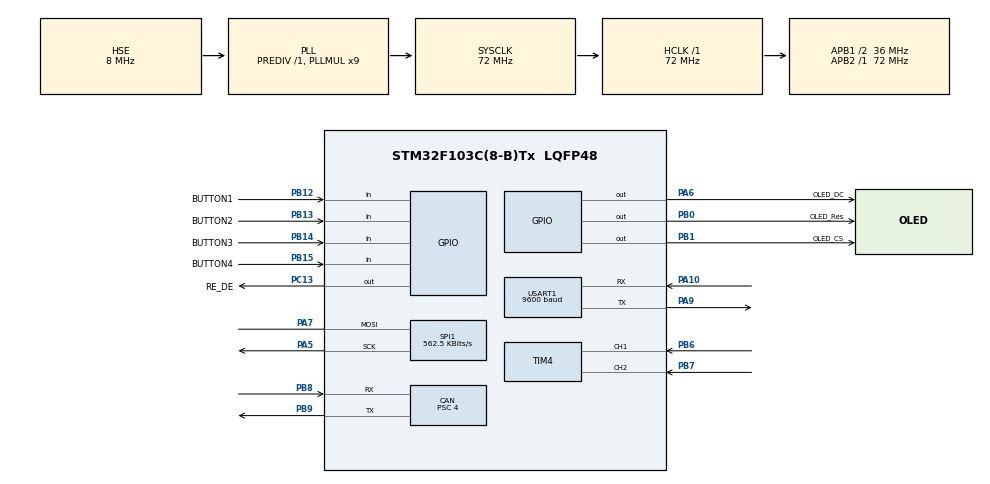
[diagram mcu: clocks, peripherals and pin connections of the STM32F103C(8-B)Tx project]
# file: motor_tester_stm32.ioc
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CAN.ABOM=ENABLE
CAN.BS1=CAN_BS1_15TQ
CAN.BS2=CAN_BS2_2TQ
CAN.CalculateBaudRate=500000
CAN.CalculateTimeBit=2000
CAN.CalculateTimeQuantum=111.11111111111111
CAN.Prescaler=4
CAN.TXFP=ENABLE
Dma.Request0=USART1_RX
Dma.USART1_RX.0.Direction=DMA_PERIPH_TO_MEMORY
Dma.USART1_RX.0.Instance=DMA1_Channel5
Dma.USART1_RX.0.MemDataAlignment=DMA_MDATAALIGN_BYTE
Dma.USART1_RX.0.MemInc=DMA_MINC_ENABLE
Dma.USART1_RX.0.Mode=DMA_NORMAL
Dma.USART1_RX.0.PeriphDataAlignment=DMA_PDATAALIGN_BYTE
Dma.USART1_RX.0.PeriphInc=DMA_PINC_DISABLE
Dma.USART1_RX.0.Priority=DMA_PRIORITY_LOW
Mcu.Family=STM32F1
Mcu.Name=STM32F103C(8-B)Tx
Mcu.Package=LQFP48
NVIC.CAN1_SCE_IRQn=true\:0\:0\:false\:false\:true\:true\:true\:true
NVIC.DMA1_Channel5_IRQn=true\:0\:0\:false\:false\:true\:false\:true\:true
NVIC.PriorityGroup=NVIC_PRIORITYGROUP_4
NVIC.USART1_IRQn=true\:0\:0\:false\:false\:true\:true\:true\:true
NVIC.USB_LP_CAN1_RX0_IRQn=true\:0\:0\:false\:false\:true\:true\:true\:true
PA10.Mode=Asynchronous
PA10.Signal=USART1_RX
PA13.Mode=Serial_Wire
PA13.Signal=SYS_JTMS-SWDIO
PA14.Mode=Serial_Wire
PA14.Signal=SYS_JTCK-SWCLK
PA5.Mode=Simplex_Bidirectional_Master
PA5.Signal=SPI1_SCK
PA6.GPIO_Label=OLED_DC
PA6.Signal=GPIO_Output
PA7.Mode=Simplex_Bidirectional_Master
PA7.Signal=SPI1_MOSI
PA9.Mode=Asynchronous
PA9.Signal=USART1_TX
PB0.GPIO_Label=OLED_Res
PB0.Signal=GPIO_Output
PB1.GPIO_Label=OLED_CS
PB1.Signal=GPIO_Output
PB12.GPIO_Label=BUTTON1
PB12.Signal=GPIO_Input
PB13.GPIO_Label=BUTTON2
PB13.Signal=GPIO_Input
PB14.GPIO_Label=BUTTON3
PB14.Signal=GPIO_Input
PB15.GPIO_Label=BUTTON4
PB15.Signal=GPIO_Input
PB6.Signal=S_TIM4_CH1
PB7.Signal=S_TIM4_CH2
PB8.Mode=CAN_Activate
PB8.Signal=CAN_RX
PB9.Mode=CAN_Activate
PB9.Signal=CAN_TX
PC13-TAMPER-RTC.GPIO_Label=RE_DE
PC13-TAMPER-RTC.Signal=GPIO_Output
PD0-OSC_IN.Mode=HSE-External-Oscillator
PD0-OSC_IN.Signal=RCC_OSC_IN
PD1-OSC_OUT.Mode=HSE-External-Oscillator
PD1-OSC_OUT.Signal=RCC_OSC_OUT
ProjectManager.HeapSize=0x200
ProjectManager.StackSize=0x400
ProjectManager.TargetToolchain=STM32CubeIDE
RCC.AHBFreq_Value=72000000
RCC.APB1CLKDivider=RCC_HCLK_DIV2
RCC.APB1Freq_Value=36000000
RCC.APB1TimFreq_Value=72000000
RCC.APB2Freq_Value=72000000
RCC.APB2TimFreq_Value=72000000
RCC.HCLKFreq_Value=72000000
RCC.PLLMUL=RCC_PLL_MUL9
RCC.PLLSourceVirtual=RCC_PLLSOURCE_HSE
RCC.SYSCLKFreq_VALUE=72000000
RCC.SYSCLKSource=RCC_SYSCLKSOURCE_PLLCLK
RCC.USBFreq_Value=72000000
SH.S_TIM4_CH1.0=TIM4_CH1,Encoder_Interface
SH.S_TIM4_CH2.0=TIM4_CH2,Encoder_Interface
SPI1.BaudRatePrescaler=SPI_BAUDRATEPRESCALER_128
SPI1.CalculateBaudRate=562.5 KBits/s
SPI1.Direction=SPI_DIRECTION_1LINE
SPI1.Mode=SPI_MODE_MASTER
SPI1.VirtualType=VM_MASTER
USART1.BaudRate=9600
USART1.VirtualMode=VM_ASYNC
board=custom

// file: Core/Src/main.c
/* USER CODE BEGIN Header */
/**
  ******************************************************************************
  * @file           : main.c
  * @brief          : Main program body
  ******************************************************************************
  * @attention
  *
  * Copyright (c) 2023 STMicroelectronics.
  * All rights reserved.
  *
  * This software is licensed under terms that can be found in the LICENSE file
  * in the root directory of this software component.
  * If no LICENSE file comes with this software, it is provided AS-IS.
  *
  ******************************************************************************
  */
/* USER CODE END Header */
#include "main.h"

/* USER CODE BEGIN Includes */
#include "ssd1306/ssd1306.h"
#include "ssd1306/ssd1306_tests.h"
#include "printf/printf.h"
//#include <stdio.h>
/* USER CODE END Includes */

CAN_HandleTypeDef hcan;

SPI_HandleTypeDef hspi1;

TIM_HandleTypeDef htim4;

UART_HandleTypeDef huart1;
DMA_HandleTypeDef hdma_usart1_rx;

/* USER CODE BEGIN PV */
int32_t enc_prev = 0;
int32_t enc_idle_tick = 0;
/* USER CODE END PV */

void SystemClock_Config(void);
static void MX_GPIO_Init(void);
static void MX_DMA_Init(void);
static void MX_USART1_UART_Init(void);
static void MX_TIM4_Init(void);
static void MX_SPI1_Init(void);
static void MX_CAN_Init(void);
/* USER CODE BEGIN PFP */

#define DRIVER_MOVE_ID 0x01
#define DRIVER_LIFT_ID 0x02

uint8_t bms_uart_buff[100];
uint8_t new_bms_data = 0;
uint16_t data_size = 0;
uint8_t smart_buff[100];
int size_recv_buff = 0;

uint8_t bms_jbd_request_msg0[] = {0xDD, 0xA5, 0x03, 0x00, 0xFF, 0xFD, 0x77};
uint8_t bms_jbd_request_msg1[] = {0xDD, 0xA5, 0x04, 0x00, 0xFF, 0xFC, 0x77};
uint8_t bms_smart_request_msg[]  = {0xA5, 0x40, 0x90, 0x08, 0x00, 0x00, 0x00, 0x00, 0x00, 0x00, 0x00, 0x00, 0x7D};
uint32_t bms_req_time = 0;
int32_t battery_capacity = 0;
uint8_t bms_err = 0;
int32_t check_bms_i = 0;
int32_t screen_bms = 0;

int32_t start_stop = 0;
int32_t motor_speed = 0;

CAN_TxHeaderTypeDef TxHeader;
CAN_RxHeaderTypeDef RxHeader;
uint8_t TxData[8] = {0,};
uint8_t RxData[8] = {0,};
uint32_t TxMailbox = 0;
volatile uint8_t NewCanMsg = 0;

enum CanGetMsgStatus {
	CAN_GET_MSG_WAIT					=  0,
	CAN_GET_MSG_OK                      =  1,
	CAN_GET_MSG_ERROR                   =  2,
};

typedef struct {
	uint8_t start_msg0;
	uint8_t start_msg1;
	uint8_t shuttle_id;
	uint8_t msg_id;

	uint16_t voltage;
	int16_t current;

	uint32_t remaining_capacity;
	uint16_t nominal_capacity;
	uint16_t n0;

	uint16_t cycles;
	uint16_t date;
	uint16_t balance_low;
	uint16_t balance_high;

	uint16_t protection;
	uint16_t capacity_percent;

	uint8_t version;
	uint8_t MOS_state;
	uint8_t num_of_battery;
	uint8_t num_of_NTC;

	uint16_t temp1;
	uint16_t temp2;

	uint8_t battery_pack;
	uint8_t p0;
	uint8_t p1;
	uint8_t p2;

	uint16_t max_volt;
	uint16_t min_volt;

	uint16_t cell_0;
	uint16_t cell_1;
	uint16_t cell_2;
	uint16_t cell_3;
	uint16_t cell_4;
	uint16_t cell_5;
	uint16_t cell_6;
	uint16_t cell_7;
	uint16_t cell_8;
	uint16_t cell_9;
	uint16_t cell_10;
	uint16_t cell_11;
	uint16_t cell_12;
	uint16_t cell_13;
	uint16_t cell_14;
	uint16_t cell_15;
	uint8_t bms_type; //0-jbd, 1-smart
	uint8_t reservz1;
	uint8_t reservz2;
	uint8_t CS;
} BatteryMsgTypeDef;

typedef struct {
	GPIO_TypeDef *button_port;
	uint16_t button_pin;
	uint8_t short_state;
	uint8_t long_state;
	uint32_t time_key;
} StButtonsTypeDef;

enum BMS_TYPE {
	BMS_NONE = 0,
	BMS_SMART,
	BMS_JBD,
	BMS_MAX,
};

enum MENU {
	MENU_ENC = 0,
	MENU_BMS,
	MENU_DRIVER,
	MENU_MAX,
};

typedef struct {
	int32_t encoder;
	float voltage;
} CanDataRecvTypeDef;

typedef struct {
	uint32_t canId;
	uint32_t canExtId;
	uint32_t canRTR;
	uint8_t canData[8];
} CanDataSendTypeDef;

//CanDataRecvTypeDef canDataRecv;
//CanDataSendTypeDef prevCanData;

int curr_menu = 0;

BatteryMsgTypeDef batteryMsg;
StButtonsTypeDef stButtons[4];

/* USER CODE END PFP */

/* USER CODE BEGIN 0 */

void HAL_UART_ErrorCallback(UART_HandleTypeDef *huart)
{
	uint32_t er = HAL_UART_GetError(huart);
	switch (er) {
		case HAL_UART_ERROR_PE: // ошибка четности
			__HAL_UART_CLEAR_PEFLAG(huart);
			huart->ErrorCode = HAL_UART_ERROR_NONE;
			break;
		case HAL_UART_ERROR_NE:  // шум на линии
			__HAL_UART_CLEAR_NEFLAG(huart);
			huart->ErrorCode = HAL_UART_ERROR_NONE;
			break;
		case HAL_UART_ERROR_FE:  // ошибка фрейма
			__HAL_UART_CLEAR_FEFLAG(huart);
			huart->ErrorCode = HAL_UART_ERROR_NONE;
			break;
		case HAL_UART_ERROR_ORE:  // overrun error
			__HAL_UART_CLEAR_OREFLAG(huart);
			huart->ErrorCode = HAL_UART_ERROR_NONE;
			break;
		case HAL_UART_ERROR_DMA:  // ошибка DMA
			huart->ErrorCode = HAL_UART_ERROR_NONE;
			break;
		default:
			break;
		}
	if (huart->Instance == USART1) {
		new_bms_data = 1;
		HAL_UARTEx_ReceiveToIdle_DMA(&huart1, bms_uart_buff, sizeof(bms_uart_buff));
		__HAL_DMA_DISABLE_IT(&hdma_usart1_rx, DMA_IT_HT);
	}
}

void HAL_UARTEx_RxEventCallback(UART_HandleTypeDef *huart, uint16_t Size) {
	if (huart->Instance == USART1) {
		new_bms_data = 1;
		data_size = Size;
		HAL_UARTEx_ReceiveToIdle_DMA(&huart1, bms_uart_buff, sizeof(bms_uart_buff));
		__HAL_DMA_DISABLE_IT(&hdma_usart1_rx, DMA_IT_HT);
	}
}

void HAL_CAN_RxFifo0MsgPendingCallback(CAN_HandleTypeDef *hcan)
{
	if (HAL_CAN_GetRxMessage(hcan, CAN_RX_FIFO0, &RxHeader, RxData) != HAL_OK)
	{
		Error_Handler();
	}
	NewCanMsg = CAN_GET_MSG_OK;
}
void HAL_CAN_ErrorCallback(CAN_HandleTypeDef *hcan)
{
    NewCanMsg = CAN_GET_MSG_ERROR;
}

uint8_t CanMsgRead(CanDataRecvTypeDef *canDataRecv) {

	return 1;
}

uint8_t CanMsgSend(CanDataSendTypeDef *canDataSend) {

	TxHeader.StdId = canDataSend->canId;
	TxHeader.ExtId = canDataSend->canExtId;
	TxHeader.RTR = canDataSend->canRTR;
	TxHeader.IDE = CAN_ID_EXT;
	TxHeader.DLC = 8;
	TxHeader.TransmitGlobalTime = 0;
	//globData.can_mutex = 0;
	for (int i = 0; i < sizeof(TxData); i++) {
		TxData[i] = canDataSend->canData[i];
	}
	while (HAL_CAN_GetTxMailboxesFreeLevel(&hcan) == 0);
	if (HAL_CAN_AddTxMessage(&hcan, &TxHeader, TxData, &TxMailbox) != HAL_OK) {
		//HAL_UART_Transmit(&huart, (uint8_t*) "no_trans\r\n", 10, 100);
		return 0;
	}
	return 1;
}

void Moving() {

	CanDataSendTypeDef canDataSend;

	static int move_axis_en = 0;
	static int lift_axis_en = 0;
	if (start_stop) {
			canDataSend.canExtId = DRIVER_MOVE_ID + 0x06000000;
			canDataSend.canRTR = CAN_RTR_DATA;
			if (!move_axis_en) {
				move_axis_en = 1;
				canDataSend.canData[0] = 0x23;
				canDataSend.canData[1] = 0x0D;
				canDataSend.canData[2] = 0x20;
				canDataSend.canData[3] = 0x01;
				canDataSend.canData[4] = 0x00;
				canDataSend.canData[5] = 0x00;
				canDataSend.canData[6] = 0x00;
				canDataSend.canData[7] = 0x00;
				CanMsgSend(&canDataSend);
				HAL_Delay(10);
			}
			if (!lift_axis_en) {
				lift_axis_en = 1;
				canDataSend.canData[0] = 0x23;
				canDataSend.canData[1] = 0x0D;
				canDataSend.canData[2] = 0x20;
				canDataSend.canData[3] = 0x02;
				canDataSend.canData[4] = 0x00;
				canDataSend.canData[5] = 0x00;
				canDataSend.canData[6] = 0x00;
				canDataSend.canData[7] = 0x00;
				CanMsgSend(&canDataSend);
				HAL_Delay(10);
			}
			static int32_t ch_velocity = 0;
			//if (motor1_speed) { //(l_current_move_comm == MOVE_FORW) {
			//HAL_UART_Transmit(&DEBUG_UART, (uint8_t*)"can_send\r\n", 10, 100);
			canDataSend.canData[0] = 0x23;
			canDataSend.canData[1] = 0x00;
			canDataSend.canData[2] = 0x20;
			canDataSend.canData[3] = 0x01;
			ch_velocity = motor_speed;
			canDataSend.canData[4] = ch_velocity >> 24;
			canDataSend.canData[5] = ch_velocity >> 16;
			canDataSend.canData[6] = ch_velocity >> 8;
			canDataSend.canData[7] = ch_velocity;
			CanMsgSend(&canDataSend);
			HAL_Delay(2);
			//}
			//else if (motor2_speed) {
			canDataSend.canData[0] = 0x23;
			canDataSend.canData[1] = 0x00;
			canDataSend.canData[2] = 0x20;
			canDataSend.canData[3] = 0x02;
			ch_velocity = motor_speed;
			canDataSend.canData[4] = ch_velocity >> 24;
			canDataSend.canData[5] = ch_velocity >> 16;
			canDataSend.canData[6] = ch_velocity >> 8;
			canDataSend.canData[7] = ch_velocity;
			CanMsgSend(&canDataSend);
			//}
		}
		else
		{
			canDataSend.canData[0] = 0x23;
			canDataSend.canData[1] = 0x00;
			canDataSend.canData[2] = 0x20;
			canDataSend.canData[3] = 0x01;
			canDataSend.canData[4] = 0x00;
			canDataSend.canData[5] = 0x00;
			canDataSend.canData[6] = 0x00;
			canDataSend.canData[7] = 0x00;
			CanMsgSend(&canDataSend);
			HAL_Delay(10);
			canDataSend.canData[0] = 0x23;
			canDataSend.canData[1] = 0x00;
			canDataSend.canData[2] = 0x20;
			canDataSend.canData[3] = 0x02;
			canDataSend.canData[4] = 0x00;
			canDataSend.canData[5] = 0x00;
			canDataSend.canData[6] = 0x00;
			canDataSend.canData[7] = 0x00;
			CanMsgSend(&canDataSend);
			move_axis_en = 0;
			lift_axis_en = 0;
		}
		HAL_Delay(20);
}

void read_bms_uart() {
	if (new_bms_data)
	{
		new_bms_data = 0;
		rcGetBattery();
		check_bms_i = 3;
		bms_req_time = HAL_GetTick();
	}
	if (check_bms_i == 0)
	{
		RE_DE_ON;
		HAL_UART_Transmit(&huart1, (uint8_t*)bms_jbd_request_msg0, sizeof(bms_jbd_request_msg0), 100);
		RE_DE_OFF;
		check_bms_i++;
		bms_req_time = HAL_GetTick();
	}
	else if (check_bms_i == 1 && batteryMsg.bms_type == BMS_NONE)
	{
		if (HAL_GetTick() - bms_req_time > 500) {
			bms_smart_request_msg[2] = 0x90;
			bms_smart_request_msg[4] = 0x00;
			bms_smart_request_msg[12] = 0x7D;
			RE_DE_ON;
			HAL_UART_Transmit(&huart1, (uint8_t*)bms_smart_request_msg, sizeof(bms_smart_request_msg), 100);
			RE_DE_OFF;
			check_bms_i++;
			bms_req_time = HAL_GetTick();
		}
	}
	else if (check_bms_i == 2 && batteryMsg.bms_type == BMS_NONE)
	{
		if (HAL_GetTick() - bms_req_time > 1000) {
			bms_req_time = HAL_GetTick();
			check_bms_i = 3;
		}
	}
}

void rcGetBattery() {
	if (batteryMsg.bms_type == BMS_NONE)
	{
		if (bms_uart_buff[0] == 0xDD) batteryMsg.bms_type = BMS_JBD;
		else if (bms_uart_buff[0] == 0xA5) batteryMsg.bms_type = BMS_SMART;
	}
	if (batteryMsg.bms_type == BMS_SMART)
	{
		uint8_t battery_comm = bms_uart_buff[2];
		if (battery_comm == 0x90)
		{
			batteryMsg.voltage = (bms_uart_buff[4] << 8) + bms_uart_buff[5];
			batteryMsg.current = (bms_uart_buff[8] << 8) + bms_uart_buff[9];
			batteryMsg.capacity_percent = (bms_uart_buff[10] << 8) + bms_uart_buff[11];
			battery_capacity = batteryMsg.capacity_percent/10;
			bms_smart_request_msg[2] = 0x95;
			bms_smart_request_msg[12] = 0x82;
			size_recv_buff = 0;
			HAL_Delay(50);
			RE_DE_ON;
			HAL_UART_Transmit(&huart1, (uint8_t*)bms_smart_request_msg, sizeof(bms_smart_request_msg), 100);
			RE_DE_OFF;
		}
		else if (battery_comm == 0x91)
		{
			batteryMsg.max_volt = (bms_uart_buff[4] << 8) + bms_uart_buff[5];
			batteryMsg.min_volt = (bms_uart_buff[7] << 8) + bms_uart_buff[8];
		}
		else if (battery_comm == 0x92)
		{

		}
		else if (battery_comm == 0x93)
		{
			batteryMsg.remaining_capacity = (bms_uart_buff[8] << 24) +(bms_uart_buff[9] << 16) +(bms_uart_buff[10] << 8) + bms_uart_buff[11];
		}
		else if (battery_comm == 0x94)
		{
			batteryMsg.num_of_battery = bms_uart_buff[4];
			batteryMsg.num_of_NTC = bms_uart_buff[5];
		}
		else// if (battery_comm == 0x95)
		{
			int rc = 0;
			for (int i=size_recv_buff;i<(data_size+size_recv_buff);i++)
			{
				smart_buff[i] = bms_uart_buff[rc];
				rc++;
			}
			size_recv_buff += data_size;
			if (size_recv_buff == 78)
			{
				batteryMsg.cell_0 = (bms_uart_buff[5] << 8) + bms_uart_buff[6];
				batteryMsg.cell_1 = (smart_buff[7] << 8) + smart_buff[8];
				batteryMsg.cell_2 = (smart_buff[9] << 8) + smart_buff[10];
				batteryMsg.cell_3 = (smart_buff[5+13] << 8) + smart_buff[(6+13)];
				batteryMsg.cell_4 = (smart_buff[(7+13)] << 8) + smart_buff[(8+13)];
				batteryMsg.cell_5 = (smart_buff[9+13] << 8) + smart_buff[10+13];
				batteryMsg.cell_6 = (smart_buff[5+13*2] << 8) + smart_buff[6+13*2];
				batteryMsg.cell_7 = (smart_buff[7+13*2] << 8) + smart_buff[8+13*2];
				batteryMsg.cell_8 = (smart_buff[9+13*2] << 8) + smart_buff[10+13*2];
				batteryMsg.cell_9 = (smart_buff[5+13*3] << 8) + smart_buff[6+13*3];
				batteryMsg.cell_10 = (smart_buff[7+13*3] << 8) + smart_buff[8+13*3];
				batteryMsg.cell_11 = (smart_buff[9+13*3] << 8) + smart_buff[10+13*3];
				batteryMsg.cell_12 = (smart_buff[5+13*4] << 8) + smart_buff[6+13*4];
				batteryMsg.cell_13 = (smart_buff[7+13*4] << 8) + smart_buff[8+13*4];
				batteryMsg.cell_14 = (smart_buff[9+13*4] << 8) + smart_buff[10+13*4];
				batteryMsg.cell_15 = (smart_buff[5+13*5] << 8) + smart_buff[6+13*5];
			}
			/*
			if (bms_uart_buff[4] == 0x01)
			{
				batteryMsg.cell_0 = (bms_uart_buff[5] << 8) + bms_uart_buff[6];
				batteryMsg.cell_1 = (bms_uart_buff[7] << 8) + bms_uart_buff[8];
				batteryMsg.cell_2 = (bms_uart_buff[9] << 8) + bms_uart_buff[10];
			}
			else if (bms_uart_buff[4] == 0x02)
			{
				batteryMsg.cell_3 = (bms_uart_buff[5] << 8) + bms_uart_buff[6];
				batteryMsg.cell_4 = (bms_uart_buff[7] << 8) + bms_uart_buff[8];
				batteryMsg.cell_5 = (bms_uart_buff[9] << 8) + bms_uart_buff[10];
			}
			else if (bms_uart_buff[4] == 0x03)
			{
				batteryMsg.cell_6 = (bms_uart_buff[5] << 8) + bms_uart_buff[6];
				batteryMsg.cell_7 = (bms_uart_buff[7] << 8) + bms_uart_buff[8];
				batteryMsg.cell_8 = (bms_uart_buff[9] << 8) + bms_uart_buff[10];
			}
			else if (bms_uart_buff[4] == 0x04)
			{
				batteryMsg.cell_9 = (bms_uart_buff[5] << 8) + bms_uart_buff[6];
				batteryMsg.cell_10 = (bms_uart_buff[7] << 8) + bms_uart_buff[8];
				batteryMsg.cell_11 = (bms_uart_buff[9] << 8) + bms_uart_buff[10];
			}
			else if (bms_uart_buff[4] == 0x05)
			{
				batteryMsg.cell_12 = (bms_uart_buff[5] << 8) + bms_uart_buff[6];
				batteryMsg.cell_13 = (bms_uart_buff[7] << 8) + bms_uart_buff[8];
				batteryMsg.cell_14 = (bms_uart_buff[9] << 8) + bms_uart_buff[10];
			}
			else if (bms_uart_buff[4] == 0x06)
			{
				batteryMsg.cell_15 = (bms_uart_buff[5] << 8) + bms_uart_buff[6];
				//bms_smart_request_msg[2]++;
				//bms_smart_request_msg[12]++;
			}
			uint16_t *p_cell = &batteryMsg.cell_0;
			uint16_t cell_volt;
			int err = 0;
			for (int i=0;i<16;i++)
			{
				cell_volt = *p_cell;
				if (cell_volt == 0)
				{
					err = 1;
				}
				p_cell++;
			}
			if (err)
			{
				HAL_Delay(10);
				RE_DE_ON;
				HAL_UART_Transmit(&huart1, (uint8_t*)bms_smart_request_msg, sizeof(bms_smart_request_msg), 100);
				RE_DE_OFF;
			}*/
		}
		/*else if (battery_comm == 0x96)
		{
			batteryMsg.temp1 = bms_uart_buff[5]; //-40 to convert
			batteryMsg.temp2 = bms_uart_buff[6];
		}*/
		/*if (bms_smart_request_msg[2] > 0x96)
		{
			//bms_smart_request_msg[2] = 0x90;
			//bms_smart_request_msg[12] = 0x7D;
		}
		else
		{
			RE_DE_ON;
			HAL_UART_Transmit(&huart1, (uint8_t*)bms_smart_request_msg, sizeof(bms_smart_request_msg), 100);
			RE_DE_OFF;
		}
		if (battery_comm != 0x95)
		{
			bms_smart_request_msg[2]++;
			bms_smart_request_msg[12]++;
		}*/
	}
	else if (batteryMsg.bms_type == BMS_JBD)
	{
		uint8_t battery_comm = bms_uart_buff[1];
		if (battery_comm == 0x03)
		{
			batteryMsg.voltage = (bms_uart_buff[4] << 8) + bms_uart_buff[5];
			//batteryMsg.current = 65536 - ((bms_uart_buff[6] << 8) + bms_uart_buff[7]);
			//if (bms_uart_buff[6] & (1 << 8)) batteryMsg.current = -batteryMsg.current;
			batteryMsg.current = 0;//(bms_uart_buff[6] << 8) + bms_uart_buff[7];
			batteryMsg.remaining_capacity = (uint32_t)((bms_uart_buff[8] << 8) + bms_uart_buff[9]);
			batteryMsg.nominal_capacity = (bms_uart_buff[10] << 8) + bms_uart_buff[11];
			batteryMsg.cycles = (bms_uart_buff[12] << 8) + bms_uart_buff[13];
			batteryMsg.date = (bms_uart_buff[14] << 8) + bms_uart_buff[15];
			batteryMsg.balance_low = (bms_uart_buff[16] << 8) + bms_uart_buff[17];
			batteryMsg.balance_high = (bms_uart_buff[18] << 8) + bms_uart_buff[19];
			batteryMsg.protection = (bms_uart_buff[20] << 8) + bms_uart_buff[21];
			batteryMsg.version = bms_uart_buff[22];
			batteryMsg.capacity_percent = (uint16_t)bms_uart_buff[23];
			batteryMsg.MOS_state = bms_uart_buff[24];
			batteryMsg.num_of_battery = bms_uart_buff[25];
			batteryMsg.num_of_NTC = bms_uart_buff[26];
			batteryMsg.temp1 = ((bms_uart_buff[27] << 8) + bms_uart_buff[28]);
			batteryMsg.temp2 = ((bms_uart_buff[29] << 8) + bms_uart_buff[30]);
			battery_capacity = batteryMsg.capacity_percent;
			RE_DE_ON;
			HAL_UART_Transmit(&huart1, (uint8_t*)bms_jbd_request_msg1, sizeof(bms_jbd_request_msg1), 100);
			RE_DE_OFF;
		}
		else if (battery_comm == 0x04)
		{
			batteryMsg.battery_pack = bms_uart_buff[3];
			batteryMsg.cell_0 = (bms_uart_buff[4] << 8) + bms_uart_buff[5];
			batteryMsg.cell_1 = (bms_uart_buff[6] << 8) + bms_uart_buff[7];
			batteryMsg.cell_2 = (bms_uart_buff[8] << 8) + bms_uart_buff[9];
			batteryMsg.cell_3 = (bms_uart_buff[10] << 8) + bms_uart_buff[11];
			batteryMsg.cell_4 = (bms_uart_buff[12] << 8) + bms_uart_buff[13];
			batteryMsg.cell_5 = (bms_uart_buff[14] << 8) + bms_uart_buff[15];
			batteryMsg.cell_6 = (bms_uart_buff[16] << 8) + bms_uart_buff[17];
			batteryMsg.cell_7 = (bms_uart_buff[18] << 8) + bms_uart_buff[19];
			batteryMsg.cell_8 = (bms_uart_buff[20] << 8) + bms_uart_buff[21];
			batteryMsg.cell_9 = (bms_uart_buff[22] << 8) + bms_uart_buff[23];
			batteryMsg.cell_10 = (bms_uart_buff[24] << 8) + bms_uart_buff[25];
			batteryMsg.cell_11 = (bms_uart_buff[26] << 8) + bms_uart_buff[27];
			batteryMsg.cell_12 = (bms_uart_buff[28] << 8) + bms_uart_buff[29];
			batteryMsg.cell_13 = (bms_uart_buff[30] << 8) + bms_uart_buff[31];
			batteryMsg.cell_14 = (bms_uart_buff[32] << 8) + bms_uart_buff[33];
			batteryMsg.cell_15 = (bms_uart_buff[34] << 8) + bms_uart_buff[35];
		}
	}
	/*for (int i = 0; i < sizeof bms_uart_buff; i++)
	{
		bms_uart_buff[0] = 0;
	}*/
}

int32_t unwrap_encoder(uint16_t in, int32_t *prev)
{
    int32_t c32 = (int32_t)in - ENC_HALF_PERIOD;
    int32_t dif = (c32-*prev);

    int32_t mod_dif = ((dif + ENC_HALF_PERIOD) % ENC_ONE_PERIOD) - ENC_HALF_PERIOD;
    if(dif < -ENC_HALF_PERIOD) {
        mod_dif += ENC_ONE_PERIOD;
    }
    int32_t unwrapped = *prev + mod_dif;
    *prev = unwrapped;

    return unwrapped + ENC_HALF_PERIOD;
}

void getEncoder()
{
	int currCounter = __HAL_TIM_GET_COUNTER(&htim4);
	enc_idle_tick = unwrap_encoder(currCounter, &enc_prev);
}

void buttons_Init()
{
	stButtons[0].button_port = BUTTON1_GPIO_Port;
	stButtons[0].button_pin = BUTTON1_Pin;
	stButtons[1].button_port = BUTTON2_GPIO_Port;
	stButtons[1].button_pin = BUTTON2_Pin;
	stButtons[2].button_port = BUTTON3_GPIO_Port;
	stButtons[2].button_pin = BUTTON3_Pin;
	stButtons[3].button_port = BUTTON4_GPIO_Port;
	stButtons[3].button_pin = BUTTON4_Pin;
}

uint8_t short_state = 0;
uint8_t long_state = 0;
uint32_t time_key1 = 0;

void getButton()
{
	for (int i=0; i<4; i++)
	{
		uint32_t ms = HAL_GetTick();
		uint8_t key_state = HAL_GPIO_ReadPin(stButtons[i].button_port, stButtons[i].button_pin);
		if(key_state == 0 && !stButtons[i].short_state && (ms - stButtons[i].time_key) > 50)
		{
			stButtons[i].short_state = 1;
			stButtons[i].long_state = 0;
			stButtons[i].time_key = ms;
		}
		else if(key_state == 0 && !stButtons[i].long_state && (ms - stButtons[i].time_key) > 1000)
		{
			stButtons[i].long_state = 1;
			//long press
			if (i==0)
			{
				curr_menu++;
				if (curr_menu>=MENU_MAX)
				{
					curr_menu = 0;
				}
				if (start_stop)
				{
					start_stop = 0;
				}
				check_bms_i = 0;
				batteryMsg.bms_type = BMS_NONE;
			}
		}
		else if(key_state == 1 && stButtons[i].short_state && (ms - stButtons[i].time_key) > 50)
		{
			stButtons[i].short_state = 0;
			stButtons[i].time_key = ms;

		  if(!stButtons[i].long_state)
		  {
			//short press
			  if (curr_menu == MENU_BMS)
			  {
				  if (i == 0)
				  {
					  check_bms_i = 0;
					  batteryMsg.bms_type = BMS_NONE;
					  screen_bms = 0;
					  uint16_t* p_cell = &batteryMsg.cell_0;
					  for (int i=0; i<16; i++)
					  {
						  *p_cell = 0;
						  p_cell++;
					  }
				  }
				  else if (i == 1)
				  {
					  screen_bms--;
					  if (screen_bms < 0)
					  {
					  	  screen_bms = 3;
					  }

				  }
				  else if (i == 2)
				  {
					  screen_bms++;
					  if (screen_bms > 3)
					  {
						  screen_bms = 0;
					  }
				  }
			  }
			  else if (curr_menu == MENU_DRIVER)
			  {
				  if (i == 0)
				  {
					  start_stop = !start_stop;
					  if (!start_stop)
					  {
						  motor_speed = 0;
					  }
				  }
				  else if (i == 1 && start_stop)
				  {
					  motor_speed += 1000;
					  if (motor_speed>10000) motor_speed = 10000;
				  }
				  else if (i == 2 && start_stop)
				  {
					  motor_speed -= 1000;
				  	  if (motor_speed<-10000) motor_speed = -10000;
				  }
			  }
		  }
		}
	}
}

void menu_update()
{
	SSD1306_COLOR color1 = White;
	SSD1306_COLOR color2 = White;
	SSD1306_COLOR color3 = White;
	if (curr_menu == MENU_ENC)
	{
		char str [12];
		snprintf(str, sizeof str, "%d", (int)enc_idle_tick);
		ssd1306_Fill(Black);
		color1 = Black;
		ssd1306_SetCursor(2, 18);
		ssd1306_WriteString(str, Font_16x26, White);
		if (enc_idle_tick == 0)
		{
			ssd1306_SetCursor(2, 42);
			ssd1306_WriteString("Long press OK", Font_7x10, White);
			ssd1306_SetCursor(2, 53);
			ssd1306_WriteString("to select", Font_7x10, White);
		}
		//////debug////////////
		/*if (new_bms_data)
		{
			new_bms_data = 0;
			static int x = 0;
			x++;
			char xx [8];
			snprintf(xx, sizeof xx, "%d", (int)x);
			ssd1306_SetCursor(2, 18);
			ssd1306_WriteString(xx, Font_16x26, Black);
		}
		*/
	}
	else if (curr_menu == MENU_BMS) {
		ssd1306_Fill(Black);
		color2 = Black;
		if (batteryMsg.bms_type != BMS_NONE) {
			char volt[15];
			int x_coord = 2;
			int y_coord = 16;
			uint16_t* p_cell = &batteryMsg.cell_0;
			float f_volt = 0;
			if (screen_bms == 0)
			{
				char str[6];
				snprintf(str, sizeof str, "%d%%", (int) battery_capacity);
				ssd1306_SetCursor(2, 18);
				ssd1306_WriteString(str, Font_16x26, White);
				ssd1306_SetCursor(2, 45);
				if (batteryMsg.bms_type == BMS_SMART) {
					ssd1306_WriteString("SMART", Font_11x18, White);
				} else {
					ssd1306_WriteString("JBD", Font_11x18, White);
				}
				char str_volt[12];
				//snprintf(str_volt, sizeof str_volt, "%+6.*f", 2, batteryMsg.voltage);
				if (batteryMsg.bms_type == BMS_JBD)
				{
					f_volt = batteryMsg.voltage/100.0;
				}
				else
				{
					f_volt = batteryMsg.voltage/10.0;
				}
				snprintf(str_volt, sizeof str_volt, "%2.2fV", f_volt);
				//sprintf(str_volt, "%.2f V", (float)batteryMsg.voltage/100.0);
				ssd1306_SetCursor(63, 45);
				ssd1306_WriteString(str_volt, Font_11x18, White);
			}
			else if (screen_bms < 3)
			{
				int cell_num = 0;
				if (screen_bms == 2)
				{
					p_cell = &batteryMsg.cell_8;
					cell_num = 8;
				}
				for (int i=0; i<8; i++)
				{
					if (i==4)
					{
						x_coord = 65;

					}
					if (i < 4)
					{
						y_coord = 16+12*i;
					}
					else
					{
						y_coord = 16+12*(i-4);
					}
					ssd1306_SetCursor(x_coord, y_coord);
					if (i > 0 && cell_num > 0)
					{
						snprintf(volt, sizeof volt, "%d %.3f", (i+1+cell_num), *p_cell/1000.0);
					}
					else
					{

						snprintf(volt, sizeof volt, "%d  %.3f", (i+1+cell_num), *p_cell/1000.0);
					}
					ssd1306_WriteString(volt, Font_6x8, White);
					p_cell++;
				}
			}
			else
			{
				p_cell = &batteryMsg.cell_0;
				uint16_t min_volt = *p_cell;
				uint16_t max_volt = *p_cell;
				for (int i=1; i<16;i++)
				{
					uint16_t t_cell = *p_cell;
					if (t_cell < min_volt)
					{
						min_volt = t_cell;
					}
					if (max_volt < t_cell)
					{
						max_volt = t_cell;
					}
					p_cell++;
				}
				ssd1306_SetCursor(2, 15);
				snprintf(volt, sizeof volt, "Min: %.3f", min_volt/1000.0);
				ssd1306_WriteString(volt, Font_11x18, White);
				ssd1306_SetCursor(2, 34);
				snprintf(volt, sizeof volt, "Max: %.3f", max_volt/1000.0);
				ssd1306_WriteString(volt, Font_11x18, White);
				ssd1306_SetCursor(2, 54);
				snprintf(volt, sizeof volt, "Diff:   %.3f", (max_volt - min_volt)/1000.0);
				ssd1306_WriteString(volt, Font_7x10, White);
			}
		}
		else if (check_bms_i == 0) {
			ssd1306_SetCursor(2, 53);
			ssd1306_WriteString("Test", Font_7x10, White);
		}
		else if (check_bms_i == 1) {
			ssd1306_SetCursor(2, 53);
			ssd1306_WriteString("Test JBD", Font_7x10, White);
		}
		else if (check_bms_i == 2) {
			ssd1306_SetCursor(2, 53);
			ssd1306_WriteString("Test SMART", Font_7x10, White);
		}
		else if (check_bms_i > 2) {
			ssd1306_SetCursor(2, 53);
			ssd1306_WriteString("ERROR", Font_7x10, White);
		}
	}
	else if (curr_menu == MENU_DRIVER)
	{
		static uint8_t a = 0;
		ssd1306_Fill(Black);
		if (a)
		{
			color3 = White;
		}
		else
		{
			color3 = Black;
		}
		if (!start_stop)
		{
			ssd1306_SetCursor(2, 42);
			ssd1306_WriteString("OK - start/stop", Font_7x10, White);
			ssd1306_SetCursor(2, 53);
			ssd1306_WriteString("up/down - speed", Font_7x10, White);
			a = 0;
		}
		else
		{
			static uint32_t blink_t = 0;
			char str_act[10] = "Activated!";
			uint32_t ms = HAL_GetTick();
			char str [12];
			snprintf(str, sizeof str, "%d", (int)motor_speed/20);
			ssd1306_SetCursor(2, 18);
			ssd1306_WriteString(str, Font_16x26, White);
			ssd1306_SetCursor(2, 45);
			if (a)
			{
				ssd1306_WriteString(str_act, Font_11x18, White);
			}
			else
			{
				ssd1306_WriteString(str_act, Font_11x18, Black);
			}
			if (ms - blink_t > 100)
			{
				a = !a;
				blink_t = HAL_GetTick();
			}
		}
	}
	ssd1306_SetCursor(2, 1);
	ssd1306_WriteString("Encoder", Font_7x10, color1);
	ssd1306_SetCursor(55, 1);
	ssd1306_WriteString("BMS", Font_7x10, color2);
	ssd1306_SetCursor(80, 1);
	ssd1306_WriteString("Driver", Font_7x10, color3);
	ssd1306_UpdateScreen();
}
/* USER CODE END 0 */

int main(void)
{

  /* MCU Configuration--------------------------------------------------------*/

  /* Reset of all peripherals, Initializes the Flash interface and the Systick. */
  HAL_Init();

  /* Configure the system clock */
  SystemClock_Config();

  /* Initialize all configured peripherals */
  MX_GPIO_Init();
  MX_DMA_Init();
  MX_USART1_UART_Init();
  MX_TIM4_Init();
  MX_SPI1_Init();
  MX_CAN_Init();
  /* USER CODE BEGIN 2 */
  HAL_UARTEx_ReceiveToIdle_DMA(&huart1, bms_uart_buff, sizeof(bms_uart_buff));
  __HAL_DMA_DISABLE_IT(&hdma_usart1_rx, DMA_IT_HT);
  HAL_TIM_Encoder_Start(&htim4, TIM_CHANNEL_ALL);
  ssd1306_Init();
  buttons_Init();
  /* USER CODE END 2 */

  /* Infinite loop */
  /* USER CODE BEGIN WHILE */
  ssd1306_SetCursor(18, 2);
  ssd1306_Fill(White);
  ssd1306_WriteString("Universal", Font_11x18, Black);
  ssd1306_SetCursor(18, 25);
  ssd1306_WriteString("Tester", Font_16x24, Black);
  ssd1306_SetCursor(16, 56);
  ssd1306_WriteString("@Skynet 2024 v.1.0", Font_6x8, Black);
  ssd1306_UpdateScreen();
  HAL_Delay(500);
  while (1)
  {
	  getButton();
	  if(curr_menu == MENU_ENC)
	  {
		  getEncoder();
	  }
	  else if (curr_menu == MENU_BMS)
	  {
		  read_bms_uart();
	  }
	  else if (curr_menu == MENU_DRIVER)
	  {
		  Moving();
	  }
	  menu_update();

    /* USER CODE END WHILE */

  }
}

void SystemClock_Config(void)
{
  RCC_OscInitTypeDef RCC_OscInitStruct = {0};
  RCC_ClkInitTypeDef RCC_ClkInitStruct = {0};

  /** Initializes the RCC Oscillators according to the specified parameters
  * in the RCC_OscInitTypeDef structure.
  */
  RCC_OscInitStruct.OscillatorType = RCC_OSCILLATORTYPE_HSE;
  RCC_OscInitStruct.HSEState = RCC_HSE_ON;
  RCC_OscInitStruct.HSEPredivValue = RCC_HSE_PREDIV_DIV1;
  RCC_OscInitStruct.HSIState = RCC_HSI_ON;
  RCC_OscInitStruct.PLL.PLLState = RCC_PLL_ON;
  RCC_OscInitStruct.PLL.PLLSource = RCC_PLLSOURCE_HSE;
  RCC_OscInitStruct.PLL.PLLMUL = RCC_PLL_MUL9;
  if (HAL_RCC_OscConfig(&RCC_OscInitStruct) != HAL_OK)
  {
    Error_Handler();
  }

  /** Initializes the CPU, AHB and APB buses clocks
  */
  RCC_ClkInitStruct.ClockType = RCC_CLOCKTYPE_HCLK|RCC_CLOCKTYPE_SYSCLK
                              |RCC_CLOCKTYPE_PCLK1|RCC_CLOCKTYPE_PCLK2;
  RCC_ClkInitStruct.SYSCLKSource = RCC_SYSCLKSOURCE_PLLCLK;
  RCC_ClkInitStruct.AHBCLKDivider = RCC_SYSCLK_DIV1;
  RCC_ClkInitStruct.APB1CLKDivider = RCC_HCLK_DIV2;
  RCC_ClkInitStruct.APB2CLKDivider = RCC_HCLK_DIV1;

  if (HAL_RCC_ClockConfig(&RCC_ClkInitStruct, FLASH_LATENCY_2) != HAL_OK)
  {
    Error_Handler();
  }
}

static void MX_CAN_Init(void)
{

  /* USER CODE BEGIN CAN_Init 0 */
	CAN_FilterTypeDef  sFilterConfig;
  /* USER CODE END CAN_Init 0 */

  hcan.Instance = CAN1;
  hcan.Init.Prescaler = 4;
  hcan.Init.Mode = CAN_MODE_NORMAL;
  hcan.Init.SyncJumpWidth = CAN_SJW_1TQ;
  hcan.Init.TimeSeg1 = CAN_BS1_15TQ;
  hcan.Init.TimeSeg2 = CAN_BS2_2TQ;
  hcan.Init.TimeTriggeredMode = DISABLE;
  hcan.Init.AutoBusOff = ENABLE;
  hcan.Init.AutoWakeUp = DISABLE;
  hcan.Init.AutoRetransmission = DISABLE;
  hcan.Init.ReceiveFifoLocked = DISABLE;
  hcan.Init.TransmitFifoPriority = ENABLE;
  if (HAL_CAN_Init(&hcan) != HAL_OK)
  {
    Error_Handler();
  }
  /* USER CODE BEGIN CAN_Init 2 */
  	  sFilterConfig.FilterBank = 0;
      sFilterConfig.FilterMode = CAN_FILTERMODE_IDMASK;
      sFilterConfig.FilterScale = CAN_FILTERSCALE_32BIT;
      sFilterConfig.FilterIdHigh = 0x0000;
      sFilterConfig.FilterIdLow = 0x0000;
      sFilterConfig.FilterMaskIdHigh = 0x0000;
      sFilterConfig.FilterMaskIdLow = 0x0000;
      sFilterConfig.FilterFIFOAssignment = CAN_RX_FIFO0;
      sFilterConfig.FilterActivation = ENABLE;
      //sFilterConfig.SlaveStartFilterBank = 14;

      if(HAL_CAN_ConfigFilter(&hcan, &sFilterConfig) != HAL_OK)
      {
      	Error_Handler();
      }
      if (HAL_CAN_Start(&hcan) != HAL_OK) {
    	Error_Handler();
      }
      if (HAL_CAN_ActivateNotification(&hcan,
    		  CAN_IT_RX_FIFO0_MSG_PENDING | CAN_IT_ERROR | CAN_IT_BUSOFF
			  	  | CAN_IT_LAST_ERROR_CODE) != HAL_OK) {
    	Error_Handler();
      }
  /* USER CODE END CAN_Init 2 */

}

static void MX_SPI1_Init(void)
{

  /* SPI1 parameter configuration*/
  hspi1.Instance = SPI1;
  hspi1.Init.Mode = SPI_MODE_MASTER;
  hspi1.Init.Direction = SPI_DIRECTION_1LINE;
  hspi1.Init.DataSize = SPI_DATASIZE_8BIT;
  hspi1.Init.CLKPolarity = SPI_POLARITY_LOW;
  hspi1.Init.CLKPhase = SPI_PHASE_1EDGE;
  hspi1.Init.NSS = SPI_NSS_SOFT;
  hspi1.Init.BaudRatePrescaler = SPI_BAUDRATEPRESCALER_128;
  hspi1.Init.FirstBit = SPI_FIRSTBIT_MSB;
  hspi1.Init.TIMode = SPI_TIMODE_DISABLE;
  hspi1.Init.CRCCalculation = SPI_CRCCALCULATION_DISABLE;
  hspi1.Init.CRCPolynomial = 10;
  if (HAL_SPI_Init(&hspi1) != HAL_OK)
  {
    Error_Handler();
  }

}

static void MX_TIM4_Init(void)
{

  TIM_Encoder_InitTypeDef sConfig = {0};
  TIM_MasterConfigTypeDef sMasterConfig = {0};

  htim4.Instance = TIM4;
  htim4.Init.Prescaler = 0;
  htim4.Init.CounterMode = TIM_COUNTERMODE_UP;
  htim4.Init.Period = 65535;
  htim4.Init.ClockDivision = TIM_CLOCKDIVISION_DIV1;
  htim4.Init.AutoReloadPreload = TIM_AUTORELOAD_PRELOAD_DISABLE;
  sConfig.EncoderMode = TIM_ENCODERMODE_TI1;
  sConfig.IC1Polarity = TIM_ICPOLARITY_RISING;
  sConfig.IC1Selection = TIM_ICSELECTION_DIRECTTI;
  sConfig.IC1Prescaler = TIM_ICPSC_DIV1;
  sConfig.IC1Filter = 0;
  sConfig.IC2Polarity = TIM_ICPOLARITY_RISING;
  sConfig.IC2Selection = TIM_ICSELECTION_DIRECTTI;
  sConfig.IC2Prescaler = TIM_ICPSC_DIV1;
  sConfig.IC2Filter = 0;
  if (HAL_TIM_Encoder_Init(&htim4, &sConfig) != HAL_OK)
  {
    Error_Handler();
  }
  sMasterConfig.MasterOutputTrigger = TIM_TRGO_RESET;
  sMasterConfig.MasterSlaveMode = TIM_MASTERSLAVEMODE_DISABLE;
  if (HAL_TIMEx_MasterConfigSynchronization(&htim4, &sMasterConfig) != HAL_OK)
  {
    Error_Handler();
  }

}

static void MX_USART1_UART_Init(void)
{

  huart1.Instance = USART1;
  huart1.Init.BaudRate = 9600;
  huart1.Init.WordLength = UART_WORDLENGTH_8B;
  huart1.Init.StopBits = UART_STOPBITS_1;
  huart1.Init.Parity = UART_PARITY_NONE;
  huart1.Init.Mode = UART_MODE_TX_RX;
  huart1.Init.HwFlowCtl = UART_HWCONTROL_NONE;
  huart1.Init.OverSampling = UART_OVERSAMPLING_16;
  if (HAL_UART_Init(&huart1) != HAL_OK)
  {
    Error_Handler();
  }

}

static void MX_DMA_Init(void)
{

  /* DMA controller clock enable */
  __HAL_RCC_DMA1_CLK_ENABLE();

  /* DMA interrupt init */
  /* DMA1_Channel5_IRQn interrupt configuration */
  HAL_NVIC_SetPriority(DMA1_Channel5_IRQn, 0, 0);
  HAL_NVIC_EnableIRQ(DMA1_Channel5_IRQn);

}

static void MX_GPIO_Init(void)
{
  GPIO_InitTypeDef GPIO_InitStruct = {0};

  /* GPIO Ports Clock Enable */
  __HAL_RCC_GPIOC_CLK_ENABLE();
  __HAL_RCC_GPIOD_CLK_ENABLE();
  __HAL_RCC_GPIOA_CLK_ENABLE();
  __HAL_RCC_GPIOB_CLK_ENABLE();

  /*Configure GPIO pin Output Level */
  HAL_GPIO_WritePin(RE_DE_GPIO_Port, RE_DE_Pin, GPIO_PIN_RESET);

  /*Configure GPIO pin Output Level */
  HAL_GPIO_WritePin(OLED_DC_GPIO_Port, OLED_DC_Pin, GPIO_PIN_RESET);

  /*Configure GPIO pin Output Level */
  HAL_GPIO_WritePin(GPIOB, OLED_Res_Pin|OLED_CS_Pin, GPIO_PIN_RESET);

  /*Configure GPIO pin : RE_DE_Pin */
  GPIO_InitStruct.Pin = RE_DE_Pin;
  GPIO_InitStruct.Mode = GPIO_MODE_OUTPUT_PP;
  GPIO_InitStruct.Pull = GPIO_NOPULL;
  GPIO_InitStruct.Speed = GPIO_SPEED_FREQ_LOW;
  HAL_GPIO_Init(RE_DE_GPIO_Port, &GPIO_InitStruct);

  /*Configure GPIO pin : OLED_DC_Pin */
  GPIO_InitStruct.Pin = OLED_DC_Pin;
  GPIO_InitStruct.Mode = GPIO_MODE_OUTPUT_PP;
  GPIO_InitStruct.Pull = GPIO_NOPULL;
  GPIO_InitStruct.Speed = GPIO_SPEED_FREQ_LOW;
  HAL_GPIO_Init(OLED_DC_GPIO_Port, &GPIO_InitStruct);

  /*Configure GPIO pins : OLED_Res_Pin OLED_CS_Pin */
  GPIO_InitStruct.Pin = OLED_Res_Pin|OLED_CS_Pin;
  GPIO_InitStruct.Mode = GPIO_MODE_OUTPUT_PP;
  GPIO_InitStruct.Pull = GPIO_NOPULL;
  GPIO_InitStruct.Speed = GPIO_SPEED_FREQ_LOW;
  HAL_GPIO_Init(GPIOB, &GPIO_InitStruct);

  /*Configure GPIO pins : BUTTON1_Pin BUTTON2_Pin BUTTON3_Pin BUTTON4_Pin */
  GPIO_InitStruct.Pin = BUTTON1_Pin|BUTTON2_Pin|BUTTON3_Pin|BUTTON4_Pin;
  GPIO_InitStruct.Mode = GPIO_MODE_INPUT;
  GPIO_InitStruct.Pull = GPIO_NOPULL;
  HAL_GPIO_Init(GPIOB, &GPIO_InitStruct);

}

void Error_Handler(void)
{
  __disable_irq();
  while (1)
  {
  }
}
